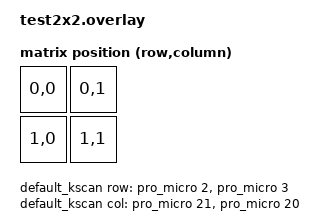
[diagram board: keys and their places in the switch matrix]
#include <dt-bindings/zmk/matrix_transform.h>

/ {
    chosen {
        zmk,kscan = &default_kscan;
        zmk,matrix_transform = &default_transform;
    };

    default_kscan: kscan {
        compatible = "zmk,kscan-gpio-matrix";
        label = "default_kscan";
        diode-direction = "col2row";

        col-gpios
            = <&pro_micro 21 GPIO_ACTIVE_HIGH>
            , <&pro_micro 20 GPIO_ACTIVE_HIGH>;

        row-gpios
            = <&pro_micro 2 (GPIO_ACTIVE_HIGH | GPIO_PULL_DOWN)>
            , <&pro_micro 3 (GPIO_ACTIVE_HIGH | GPIO_PULL_DOWN)>;
    };

    default_transform: matrix_transform {
        compatible = "zmk,matrix-transform";
        columns = <2>; // Length of the "col-gpios" array
        rows = <2>; // Length of the "row-gpios" array
        map = <
        //   Key 1 | Key 2
            RC(0,0) RC(0,1)
        //   Key 3 | Key 4
            RC(1,0) RC(1,1) 
        >;
    };
};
